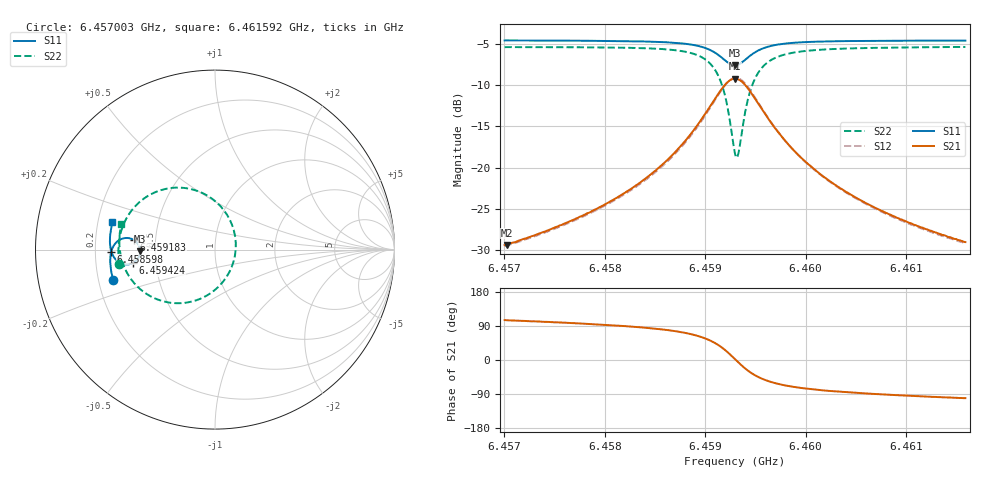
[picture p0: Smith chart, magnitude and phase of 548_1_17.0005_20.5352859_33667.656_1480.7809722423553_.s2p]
#  HZ  S  RI  R  50.00
! Rohde & Schwarz Vector Network Analyzer
! Rohde-Schwarz,ZNB20-2Port,1311601062101988,3.16
! Created: UTC 3/20/2024, 11:16:41 PM
! freq[Hz]  re:S11  im:S11  re:S21  im:S21  re:S12  im:S12  re:S22  im:S22
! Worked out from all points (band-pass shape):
!   401 points, 6.457003 GHz to 6.461592 GHz, reference 50 ohm
!   highest |S21| = -9.19 dB at 6.459298 GHz (marker M1); lowest = -29.4 dB at 6.457026 GHz (marker M2)
!   |S21| within 3 dB of the highest: 6.459068 GHz to 6.459527 GHz (458.3 kHz wide, 0.0071 % of centre)
!   lowest |S11| = -7.6 dB at 6.459298 GHz (marker M3), VSWR 2.43, Z = 20.5 - j0.446 ohm
!   |S11| at or under -10 dB: nowhere
!   |S22| runs from -18.8 to -5.3 dB; largest |S21 - S12| = 0.014
!   S11 on the Smith chart (normalised r, x): 6.457003 GHz: 0.26, -0.14; 6.458598 GHz: 0.27, -0.01; 6.459183 GHz: 0.37, +0.05; 6.459424 GHz: 0.37, -0.07; 6.461592 GHz: 0.26, +0.12
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6.4570035e9  -0.5672 -0.1702  -0.00894 0.0327  -0.00711 0.0326  -0.5333 -0.0825
6.4570264e9  -0.5678 -0.1683  -0.00877 0.0327  -0.00691 0.0329  -0.5336 -0.0803
6.457772e9  -0.581 -0.1029  -0.00548 0.0506  -0.0029 0.05  -0.5383 0.00779
6.4582079e9  -0.5838 -0.0589  0.00088 0.0708  0.00421 0.0694  -0.5293 0.0773
6.4585405e9  -0.5799 -0.019  0.0146 0.099  0.0186 0.0963  -0.5041 0.1531
6.4585979e9  -0.578 -0.0111  0.0189 0.1059  0.023 0.1028  -0.4958 0.1696
6.4588043e9  -0.5648 0.0209  0.0466 0.1384  0.0507 0.1333  -0.4439 0.2424
6.4589534e9  -0.5422 0.0472  0.0921 0.1689  0.0953 0.1621  -0.3599 0.307
6.4590911e9  -0.4982 0.0647  0.1796 0.1853  0.1805 0.1779  -0.1997 0.3455
6.4591828e9  -0.4536 0.0544  0.2696 0.1539  0.27 0.1481  -0.0326 0.2945
6.4592517e9  -0.4243 0.0222  0.3306 0.0817  0.3326 0.0764  0.0836 0.1641
6.4592975e9  -0.4174 -0.00895  0.3469 0.0135  0.3506 0.00645  0.1158 0.0363
6.4593319e9  -0.4213 -0.0327  0.3411 -0.0393  0.345 -0.0485  0.1041 -0.0638
6.4593778e9  -0.4371 -0.059  0.3122 -0.0996  0.3145 -0.1115  0.0457 -0.1778
6.4594237e9  -0.4593 -0.0754  0.2697 -0.1408  0.269 -0.1542  -0.0403 -0.2529
6.4595155e9  -0.5028 -0.0822  0.1845 -0.1717  0.1782 -0.1835  -0.2106 -0.2986
6.4596646e9  -0.5468 -0.0615  0.0962 -0.1576  0.0876 -0.1637  -0.3791 -0.2483
6.4598252e9  -0.5684 -0.0337  0.0511 -0.1295  0.0434 -0.1321  -0.4597 -0.1755
6.460066e9  -0.5811 0.00182  0.0219 -0.0976  0.0161 -0.0981  -0.5074 -0.0924
6.4603987e9  -0.5855 0.0415  0.00645 -0.0714  0.00222 -0.0708  -0.5284 -0.0152
6.4608345e9  -0.5835 0.0855  -0.00154 -0.052  -0.00443 -0.0511  -0.5327 0.0552
6.4615916e9  -0.5712 0.1525  -0.00651 -0.0347  -0.00829 -0.0337  -0.5212 0.1448
